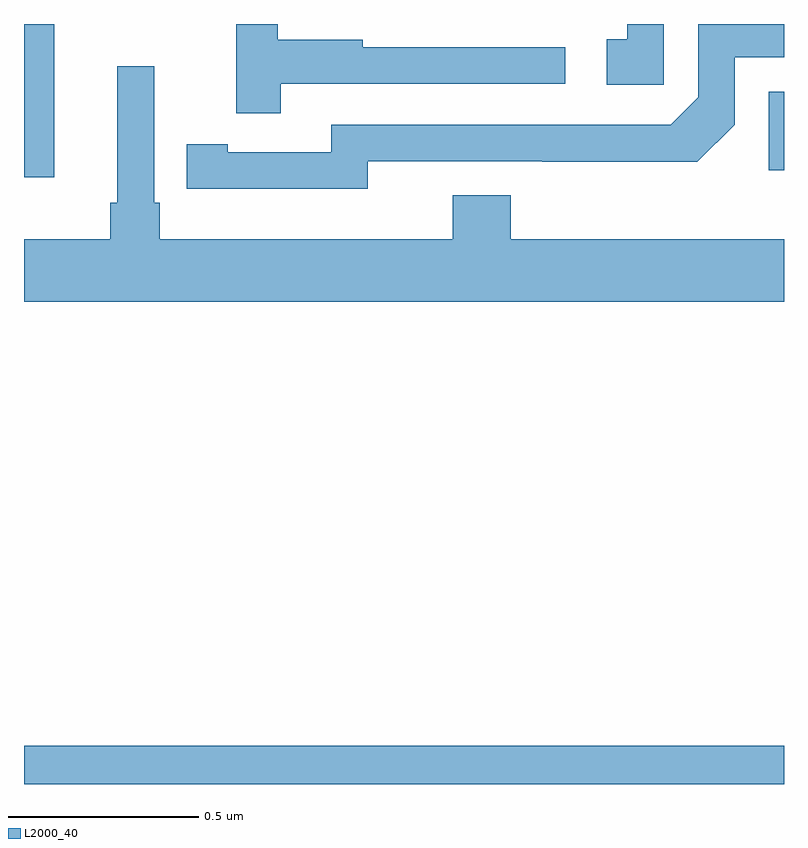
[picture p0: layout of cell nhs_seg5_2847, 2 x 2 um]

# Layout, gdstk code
import gdstk
lib = gdstk.Library(unit=1e-6, precision=1e-09)
def R(c, l, rs):  # rectangles x0, y0, x1, y1
    for r in rs: c.add(gdstk.rectangle(r[:2], r[2:], *l))
def P(c, l, *ps):  # polygons
    for p in ps: c.add(gdstk.Polygon(p, *l))
L2000_40 = (2000, 40)

nhs_seg5_2847 = lib.new_cell('nhs_seg5_2847')
R(nhs_seg5_2847, L2000_40, [(149,880.799,151,880.9), (149,882.396,149.08,882.799), (150.96,882.414,151,882.621)])
P(nhs_seg5_2847, L2000_40, [(149.904,882.438),(150.364,882.438),(150.364,882.437),(150.772,882.437),(150.87,882.534),(150.87,882.711),(151,882.711),(151,882.799),(150.774,882.799),(150.774,882.606),(150.702,882.534),(149.808,882.534),(149.808,882.462),(149.536,882.462),(149.536,882.482),(149.428,882.482),(149.428,882.366),(149.536,882.366),(149.536,882.365),(149.904,882.365)],
  [(150.684,882.799),(150.587,882.799),(150.587,882.759),(150.534,882.759),(150.534,882.639),(150.684,882.639)],
  [(149.675,882.642),(150.424,882.642),(150.424,882.738),(149.891,882.738),(149.891,882.758),(149.668,882.758),(149.668,882.799),(149.558,882.799),(149.558,882.564),(149.675,882.564)],
  [(151,882.232),(150.281,882.232),(150.281,882.349),(150.128,882.349),(150.128,882.232),(149.357,882.232),(149.357,882.328),(149.343,882.328),(149.343,882.688),(149.246,882.688),(149.246,882.328),(149.227,882.328),(149.227,882.232),(149,882.232),(149,882.068),(151,882.068)])

lib.write_gds('nhs_seg5_2847.gds')
